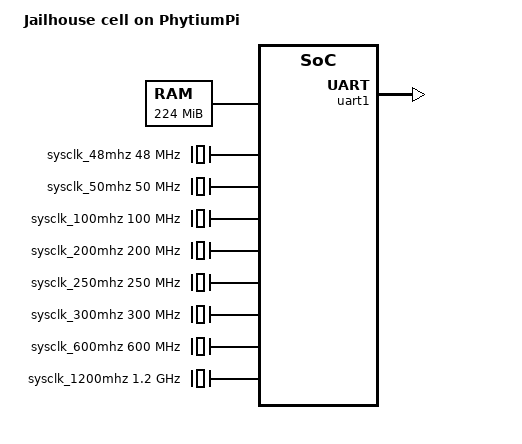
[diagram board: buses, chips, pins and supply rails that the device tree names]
/*
 * Jailhouse, a Linux-based partitioning hypervisor
 *
 * Device tree for Linux inmate test on Raspberry Pi 4,
 * corresponds to configs/arm64/phytiumpi-arceos.c
 *
 * Copyright (c) Siemens AG, 2020
 *
 * Authors:
 *  Jan Kiszka <jan.kiszka@siemens.com>
 *
 * This work is licensed under the terms of the GNU GPL, version 2.  See
 * the COPYING file in the top-level directory.
 */

#include <dt-bindings/interrupt-controller/arm-gic.h>

/dts-v1/;

/ {
	model = "Jailhouse cell on PhytiumPi";

	#address-cells = <2>;
	#size-cells = <2>;

	interrupt-parent = <&gic>;

    chosen {
        stdout-path = &uart1;
    };

    aliases {
		serial1 = &uart1;
	};

	hypervisor {
		compatible = "jailhouse,cell";
	};

	psci {
		compatible   = "arm,psci-1.0";
		method       = "smc";
		cpu_suspend  = <0xc4000001>;
		cpu_off      = <0x84000002>;
		cpu_on       = <0xc4000003>;
		sys_poweroff = <0x84000008>;
		sys_reset    = <0x84000009>;
	};

	memory@b1000000 {
		reg = <0x00000000 0xb2000000 0x00000000 0x0E000000>;
		device_type = "memory";
	};

	firmware {
		scmi: scmi {
			compatible = "arm,scmi";
			mboxes = <&mbox 0>;
			mbox-names = "tx";
			shmem = <&cpu_scp_hpri>;
			#address-cells = <1>;
			#size-cells = <0>;

			scmi_dvfs: protocol@13 {
				reg = <0x13>;
				#clock-cells = <1>;
			};

			scmi_sensors0: protocol@15 {
				reg = <0x15>;
				#thermal-sensor-cells = <1>;
			};
		};
		optee {
			compatible = "linaro,optee-tz";
			method = "smc";
		};
	};

	cpus {
		#address-cells = <0x2>;
		#size-cells = <0x0>;

        cpu-map {
            cluster1 {
                core0 {
                    cpu = <&cpu_b1>;
                };
            };
        };

        cpu_b1: cpu@101 {
            device_type = "cpu";
            compatible = "phytium,ftc664", "arm,armv8";
            reg = <0x0 0x100>;
            enable-method = "psci";
            clocks = <&scmi_dvfs 1>;
            capacity-dmips-mhz = <5660>;
	    };

	};

    mbox: mailbox@32a00000 {
        compatible = "phytium,mbox";
        reg = <0x0 0x32a00000 0x0 0x1000>;
        interrupts = <GIC_SPI 22 IRQ_TYPE_LEVEL_HIGH>;
        #mbox-cells = <1>;
    };

    sram: sram@32a10000 {
        compatible = "phytium,pe220x-sram-ns", "mmio-sram";
        reg = <0x0 0x32a10000 0x0 0x2000>;

        #address-cells = <1>;
        #size-cells = <1>;
        ranges = <0x0 0x0 0x32a10000 0x2000>;

        cpu_scp_lpri: scp-shmem@0 {
            compatible = "arm,scmi-shmem";
            reg = <0x1000 0x400>;
        };

        cpu_scp_hpri: scp-shmem@1 {
            compatible = "arm,scmi-shmem";
            reg = <0x1400 0x400>;
        };
    };

	timer {
		compatible = "arm,armv8-timer";
		interrupts = <GIC_PPI 13 IRQ_TYPE_LEVEL_LOW>,
			     <GIC_PPI 14 IRQ_TYPE_LEVEL_LOW>,
			     <GIC_PPI 11 IRQ_TYPE_LEVEL_LOW>,
			     <GIC_PPI 10 IRQ_TYPE_LEVEL_LOW>;
		clock-frequency = <50000000>;
	};

	clocks {
		#address-cells = <2>;
		#size-cells = <2>;
		ranges;

		sysclk_48mhz: clk48mhz {
			compatible = "fixed-clock";
			#clock-cells = <0>;
			clock-frequency = <48000000>;
		};

		sysclk_50mhz: clk50mhz {
			compatible = "fixed-clock";
			#clock-cells = <0>;
			clock-frequency = <50000000>;
		};

		sysclk_100mhz: clk100mhz {
			compatible = "fixed-clock";
			#clock-cells = <0>;
			clock-frequency = <100000000>;
		};

		sysclk_200mhz: clk200mhz {
			compatible = "fixed-clock";
			#clock-cells = <0>;
			clock-frequency = <200000000>;
		};

		sysclk_250mhz: clk250mhz {
			compatible = "fixed-clock";
			#clock-cells = <0>;
			clock-frequency = <250000000>;
		};

		sysclk_300mhz: clk300mhz {
			compatible = "fixed-clock";
			#clock-cells = <0>;
			clock-frequency = <300000000>;
		};

		sysclk_600mhz: clk600mhz {
			compatible = "fixed-clock";
			#clock-cells = <0>;
			clock-frequency = <600000000>;
		};

		sysclk_1200mhz: clk1200mhz {
			compatible = "fixed-clock";
			#clock-cells = <0>;
			clock-frequency = <1200000000>;
		};
	};

	smmu: iommu@30000000 {
		compatible = "arm,smmu-v3";
		reg = <0x0 0x30000000 0x0 0x800000>;
		interrupts = <GIC_SPI 240 IRQ_TYPE_EDGE_RISING>,
			     <GIC_SPI 239 IRQ_TYPE_EDGE_RISING>,
			     <GIC_SPI 236 IRQ_TYPE_EDGE_RISING>,
			     <GIC_SPI 242 IRQ_TYPE_EDGE_RISING>;
		interrupt-names = "eventq", "priq", "cmdq-sync", "gerror";
		dma-coherent;
		#iommu-cells = <1>;
	};

	gic: interrupt-controller@30800000 {
		compatible = "arm,gic-v3";
		#interrupt-cells = <3>;
		#address-cells = <2>;
		#size-cells = <2>;
		ranges;
		interrupt-controller;
		reg = <0x0 0x30800000 0 0x20000>,	/* GICD */
		      <0x0 0x30880000 0 0x80000>,	/* GICR */
		      <0x0 0x30840000 0 0x10000>,	/* GICC */
		      <0x0 0x30850000 0 0x10000>,	/* GICH */
		      <0x0 0x30860000 0 0x10000>;	/* GICV */
		interrupts = <GIC_PPI 9 IRQ_TYPE_LEVEL_LOW>;

		its: gic-its@30820000 {
			compatible = "arm,gic-v3-its";
			msi-controller;
			reg = <0x0 0x30820000 0x0 0x20000>;
		};
	};

    uart1: uart@2800d000 {
        compatible = "arm,pl011","arm,primecell";
        reg = <0x0 0x2800d000 0x0 0x1000>;
        interrupts = <GIC_SPI 84 IRQ_TYPE_LEVEL_HIGH>;
        clocks = <&sysclk_100mhz &sysclk_100mhz>;
        clock-names = "uartclk", "apb_pclk";
    };

    pcie: pcie@40000000 {
        compatible = "pci-host-ecam-generic";
        device_type = "pci";
        #address-cells = <3>;
        #size-cells = <2>;
        #interrupt-cells = <1>;
        reg = <0x0 0x40000000 0x0 0x10000000>;
        msi-parent = <&its>;
        bus-range = <0x0 0xff>;
        interrupt-map-mask = <0x0 0x0 0x0 0x7>;
        interrupt-map = <0x0 0x0 0x0 0x1 &gic 0x0 0x0 GIC_SPI 4 IRQ_TYPE_LEVEL_HIGH>,
                <0x0 0x0 0x0 0x2 &gic 0x0 0x0 GIC_SPI 5 IRQ_TYPE_LEVEL_HIGH>,
                <0x0 0x0 0x0 0x3 &gic 0x0 0x0 GIC_SPI 6 IRQ_TYPE_LEVEL_HIGH>,
                <0x0 0x0 0x0 0x4 &gic 0x0 0x0 GIC_SPI 7 IRQ_TYPE_LEVEL_HIGH>;
        ranges = <0x01000000 0x00 0x00000000 0x0  0x50000000  0x0  0x00f00000>,
                <0x02000000 0x00 0x58000000 0x0  0x58000000  0x0  0x28000000>,
                <0x03000000 0x10 0x00000000 0x10 0x00000000 0x10  0x00000000>;
        iommu-map = <0x0 &smmu 0x0 0x10000>;
        status = "disabled";
    };
};
